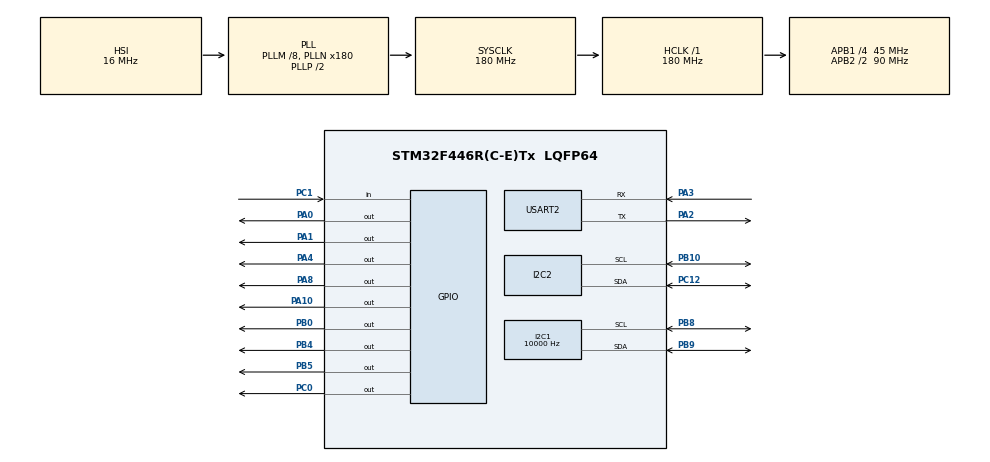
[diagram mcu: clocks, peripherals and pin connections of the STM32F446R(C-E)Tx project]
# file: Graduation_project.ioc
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I2C1.ClockSpeed=10000
Mcu.Family=STM32F4
Mcu.Name=STM32F446R(C-E)Tx
Mcu.Package=LQFP64
NVIC.PriorityGroup=NVIC_PRIORITYGROUP_4
NVIC.USART2_IRQn=true\:0\:0\:false\:false\:true\:true\:true\:true
PA0-WKUP.Signal=GPIO_Output
PA1.Signal=GPIO_Output
PA10.Signal=GPIO_Output
PA13.Mode=Trace_Asynchronous_SW
PA13.Signal=SYS_JTMS-SWDIO
PA14.Mode=Trace_Asynchronous_SW
PA14.Signal=SYS_JTCK-SWCLK
PA2.Mode=Asynchronous
PA2.Signal=USART2_TX
PA3.Mode=Asynchronous
PA3.Signal=USART2_RX
PA4.Signal=GPIO_Output
PA8.Signal=GPIO_Output
PB0.Signal=GPIO_Output
PB10.Mode=I2C
PB10.Signal=I2C2_SCL
PB3.Mode=Trace_Asynchronous_SW
PB3.Signal=SYS_JTDO-SWO
PB4.Signal=GPIO_Output
PB5.Signal=GPIO_Output
PB8.GPIO_Pu=GPIO_NOPULL
PB8.Mode=I2C
PB8.Signal=I2C1_SCL
PB9.GPIO_Pu=GPIO_NOPULL
PB9.Mode=I2C
PB9.Signal=I2C1_SDA
PC0.Signal=GPIO_Output
PC1.GPIO_PuPd=GPIO_PULLUP
PC1.Signal=GPIO_Input
PC12.Mode=I2C
PC12.Signal=I2C2_SDA
ProjectManager.HeapSize=0x200
ProjectManager.StackSize=0x400
ProjectManager.TargetToolchain=STM32CubeIDE
RCC.AHBFreq_Value=180000000
RCC.APB1CLKDivider=RCC_HCLK_DIV4
RCC.APB1Freq_Value=45000000
RCC.APB1TimFreq_Value=90000000
RCC.APB2CLKDivider=RCC_HCLK_DIV2
RCC.APB2Freq_Value=90000000
RCC.APB2TimFreq_Value=180000000
RCC.CortexFreq_Value=180000000
RCC.HCLKFreq_Value=180000000
RCC.PLLM=8
RCC.PLLN=180
RCC.SYSCLKFreq_VALUE=180000000
RCC.SYSCLKSource=RCC_SYSCLKSOURCE_PLLCLK
RCC.USBFreq_Value=180000000
RCC.VCOOutputFreq_Value=360000000
USART2.VirtualMode=VM_ASYNC
board=custom

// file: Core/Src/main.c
/* USER CODE BEGIN Header */
/**
  ******************************************************************************
  * @file           : main.c
  * @brief          : Main program body
  ******************************************************************************
  * @attention
  *
  * Copyright (c) 2025 STMicroelectronics.
  * All rights reserved.
  *
  * This software is licensed under terms that can be found in the LICENSE file
  * in the root directory of this software component.
  * If no LICENSE file comes with this software, it is provided AS-IS.
  *
  ******************************************************************************
  */
/* USER CODE END Header */
#include "main.h"

/* USER CODE BEGIN Includes */
#include "../../HAL/TOF/tof_pp.h"
#include "../../HAL/Geroscope/MPU6050_cfg.h"
#include "../../HAL/Movement_System/move_system_cfg.h"
#include <stdarg.h>
#include <stdio.h>
#include <math.h>
/* USER CODE END Includes */

/* USER CODE BEGIN PTD */
#define DISTANCE_FORCE_STOP 400
#define NUM_SENSORS 4

/* USER CODE END PTD */

/* USER CODE BEGIN PD */
extern I2C_HandleTypeDef hi2c1;
extern I2C_HandleTypeDef hi2c2;

/* USER CODE END PD */

I2C_HandleTypeDef hi2c1;
I2C_HandleTypeDef hi2c2;

UART_HandleTypeDef huart2;

void SystemClock_Config(void);
static void MX_GPIO_Init(void);
static void MX_USART2_UART_Init(void);
static void MX_I2C2_Init(void);
static void MX_I2C1_Init(void);

/* USER CODE BEGIN 0 */
VL53L1X sensors[NUM_SENSORS];
VL53L1X* sensor_ptrs[NUM_SENSORS];
uint16_t distances[NUM_SENSORS];
uint8_t Command;
uint16_t distance_forward_right = 0;
uint16_t distance_forward_left = 0;
uint16_t distance_backward_right = 0;
uint16_t distance_backward_left = 0;
uint8_t Emergency_stop_btn = 0;
int16_t x = 0;
int16_t y = 0;
int16_t z = 0;
float roll = 0;
float pitch = 0;

/* USER CODE END 0 */

int main(void)
{

  /* MCU Configuration--------------------------------------------------------*/

  /* Reset of all peripherals, Initializes the Flash interface and the Systick. */
  HAL_Init();

  /* Configure the system clock */
  SystemClock_Config();

  /* Initialize all configured peripherals */
  MX_GPIO_Init();
  MX_USART2_UART_Init();
  MX_I2C2_Init();
  MX_I2C1_Init();
  /* USER CODE BEGIN 2 */
  HAL_UART_Receive_IT(&huart2, (uint8_t *)&Command, 1);
  SetupToFSensors();
  MPU6050_Init(&MPU_1);
  /* USER CODE END 2 */

  /* Infinite loop */
  /* USER CODE BEGIN WHILE */
  while (1)
  {
	  Emergency_stop_btn = GPIO_PIN_SET;
	  if(Emergency_stop_btn == GPIO_PIN_SET)
	  {
		  ReadToFSensors();
		  MPU6050_Read_Accel(&MPU_1,&x,&y,&z);
		  distance_forward_right = distances[1];
		  distance_forward_left= distances[3];
		  distance_backward_right= distances[0];
		  distance_backward_left= distances[2];
		  roll = Get_Roll(y, z);
		  ITM_printf("Roll = %.2f\n",roll);
		  ITM_printf("sen1 = %i\nsen2 = %i\nsen3 = %i\nsen4 = %i\n",distance_forward_left,distance_forward_right,distance_backward_left,distance_backward_right);

		  if((distance_forward_right  > DISTANCE_FORCE_STOP)&&(distance_forward_left  > DISTANCE_FORCE_STOP))
		  {

			if((roll > 35.0f) && (roll < 60.0f))
			{
				Chair_Stop(&Chair);
				Chair_Move_Right(&Chair);
				HAL_Delay(500);
				Chair_Stop(&Chair);
				ITM_printf("Right\n");
				HAL_Delay(2000);
		    }
		  	else if((roll < 0.0f) && (roll > -80.0f))
		  	{
	 		  	Chair_Stop(&Chair);
		 	  	Chair_Move_Left(&Chair);
		  	 	HAL_Delay(500);
		  	 	Chair_Stop(&Chair);
		 	  	ITM_printf("Left\n");
			  	HAL_Delay(2000);
		    }
		  	else
		  	{
		  		ITM_printf("Neutral (Roll: %.2f)\n", roll);
		  	}
			ITM_printf("Command : %c",Command);
		  	if(Command == 'F')
		  	{
		  		Chair_Move_Forward(&Chair);
		    }
		  	else if((Command == 'B') && (distance_backward_right  > DISTANCE_FORCE_STOP)&&(distance_backward_left  > DISTANCE_FORCE_STOP))
		  	{
		  		Chair_Move_Backward(&Chair);
		  	}
		  	else if(Command == 'S')
		    {
		  		Chair_Stop(&Chair);
		    }
		  	else if(Command == 'R')
		  	{
		  		Chair_Move_Right(&Chair);
		    }
		  	else if(Command == 'L')
		  	{
		  		Chair_Move_Left(&Chair);
		  	}
		    else
		    {
		    	Chair_Stop(&Chair);
		    }
		  }
		  else if((distance_backward_right  > DISTANCE_FORCE_STOP)&&(distance_backward_left  > DISTANCE_FORCE_STOP))
		  {
			  if(Command == 'S')
			  {
				  Chair_Stop(&Chair);
			  }
			  else if(Command == 'B')
			  {
				  Chair_Move_Backward(&Chair);
			  }
		  }
		  else
		  {
			  Chair_Stop(&Chair);
		  }
	  }

    /* USER CODE END WHILE */

  }
}

void SystemClock_Config(void)
{
  RCC_OscInitTypeDef RCC_OscInitStruct = {0};
  RCC_ClkInitTypeDef RCC_ClkInitStruct = {0};

  /** Configure the main internal regulator output voltage
  */
  __HAL_RCC_PWR_CLK_ENABLE();
  __HAL_PWR_VOLTAGESCALING_CONFIG(PWR_REGULATOR_VOLTAGE_SCALE1);

  /** Initializes the RCC Oscillators according to the specified parameters
  * in the RCC_OscInitTypeDef structure.
  */
  RCC_OscInitStruct.OscillatorType = RCC_OSCILLATORTYPE_HSI;
  RCC_OscInitStruct.HSIState = RCC_HSI_ON;
  RCC_OscInitStruct.HSICalibrationValue = RCC_HSICALIBRATION_DEFAULT;
  RCC_OscInitStruct.PLL.PLLState = RCC_PLL_ON;
  RCC_OscInitStruct.PLL.PLLSource = RCC_PLLSOURCE_HSI;
  RCC_OscInitStruct.PLL.PLLM = 8;
  RCC_OscInitStruct.PLL.PLLN = 180;
  RCC_OscInitStruct.PLL.PLLP = RCC_PLLP_DIV2;
  RCC_OscInitStruct.PLL.PLLQ = 2;
  RCC_OscInitStruct.PLL.PLLR = 2;
  if (HAL_RCC_OscConfig(&RCC_OscInitStruct) != HAL_OK)
  {
    Error_Handler();
  }

  /** Activate the Over-Drive mode
  */
  if (HAL_PWREx_EnableOverDrive() != HAL_OK)
  {
    Error_Handler();
  }

  /** Initializes the CPU, AHB and APB buses clocks
  */
  RCC_ClkInitStruct.ClockType = RCC_CLOCKTYPE_HCLK|RCC_CLOCKTYPE_SYSCLK
                              |RCC_CLOCKTYPE_PCLK1|RCC_CLOCKTYPE_PCLK2;
  RCC_ClkInitStruct.SYSCLKSource = RCC_SYSCLKSOURCE_PLLCLK;
  RCC_ClkInitStruct.AHBCLKDivider = RCC_SYSCLK_DIV1;
  RCC_ClkInitStruct.APB1CLKDivider = RCC_HCLK_DIV4;
  RCC_ClkInitStruct.APB2CLKDivider = RCC_HCLK_DIV2;

  if (HAL_RCC_ClockConfig(&RCC_ClkInitStruct, FLASH_LATENCY_5) != HAL_OK)
  {
    Error_Handler();
  }
}

static void MX_I2C1_Init(void)
{

  hi2c1.Instance = I2C1;
  hi2c1.Init.ClockSpeed = 10000;
  hi2c1.Init.DutyCycle = I2C_DUTYCYCLE_2;
  hi2c1.Init.OwnAddress1 = 0;
  hi2c1.Init.AddressingMode = I2C_ADDRESSINGMODE_7BIT;
  hi2c1.Init.DualAddressMode = I2C_DUALADDRESS_DISABLE;
  hi2c1.Init.OwnAddress2 = 0;
  hi2c1.Init.GeneralCallMode = I2C_GENERALCALL_DISABLE;
  hi2c1.Init.NoStretchMode = I2C_NOSTRETCH_DISABLE;
  if (HAL_I2C_Init(&hi2c1) != HAL_OK)
  {
    Error_Handler();
  }

}

static void MX_I2C2_Init(void)
{

  hi2c2.Instance = I2C2;
  hi2c2.Init.ClockSpeed = 100000;
  hi2c2.Init.DutyCycle = I2C_DUTYCYCLE_2;
  hi2c2.Init.OwnAddress1 = 0;
  hi2c2.Init.AddressingMode = I2C_ADDRESSINGMODE_7BIT;
  hi2c2.Init.DualAddressMode = I2C_DUALADDRESS_DISABLE;
  hi2c2.Init.OwnAddress2 = 0;
  hi2c2.Init.GeneralCallMode = I2C_GENERALCALL_DISABLE;
  hi2c2.Init.NoStretchMode = I2C_NOSTRETCH_DISABLE;
  if (HAL_I2C_Init(&hi2c2) != HAL_OK)
  {
    Error_Handler();
  }

}

static void MX_USART2_UART_Init(void)
{

  huart2.Instance = USART2;
  huart2.Init.BaudRate = 115200;
  huart2.Init.WordLength = UART_WORDLENGTH_8B;
  huart2.Init.StopBits = UART_STOPBITS_1;
  huart2.Init.Parity = UART_PARITY_NONE;
  huart2.Init.Mode = UART_MODE_TX_RX;
  huart2.Init.HwFlowCtl = UART_HWCONTROL_NONE;
  huart2.Init.OverSampling = UART_OVERSAMPLING_16;
  if (HAL_UART_Init(&huart2) != HAL_OK)
  {
    Error_Handler();
  }

}

static void MX_GPIO_Init(void)
{
  GPIO_InitTypeDef GPIO_InitStruct = {0};

  /* GPIO Ports Clock Enable */
  __HAL_RCC_GPIOC_CLK_ENABLE();
  __HAL_RCC_GPIOA_CLK_ENABLE();
  __HAL_RCC_GPIOB_CLK_ENABLE();

  /*Configure GPIO pin Output Level */
  HAL_GPIO_WritePin(GPIOC, GPIO_PIN_0, GPIO_PIN_RESET);

  /*Configure GPIO pin Output Level */
  HAL_GPIO_WritePin(GPIOA, GPIO_PIN_0|GPIO_PIN_1|GPIO_PIN_4|GPIO_PIN_8
                          |GPIO_PIN_10, GPIO_PIN_RESET);

  /*Configure GPIO pin Output Level */
  HAL_GPIO_WritePin(GPIOB, GPIO_PIN_0|GPIO_PIN_4|GPIO_PIN_5, GPIO_PIN_RESET);

  /*Configure GPIO pin : PC0 */
  GPIO_InitStruct.Pin = GPIO_PIN_0;
  GPIO_InitStruct.Mode = GPIO_MODE_OUTPUT_PP;
  GPIO_InitStruct.Pull = GPIO_NOPULL;
  GPIO_InitStruct.Speed = GPIO_SPEED_FREQ_LOW;
  HAL_GPIO_Init(GPIOC, &GPIO_InitStruct);

  /*Configure GPIO pin : PC1 */
  GPIO_InitStruct.Pin = GPIO_PIN_1;
  GPIO_InitStruct.Mode = GPIO_MODE_INPUT;
  GPIO_InitStruct.Pull = GPIO_PULLUP;
  HAL_GPIO_Init(GPIOC, &GPIO_InitStruct);

  /*Configure GPIO pins : PA0 PA1 PA4 PA8
                           PA10 */
  GPIO_InitStruct.Pin = GPIO_PIN_0|GPIO_PIN_1|GPIO_PIN_4|GPIO_PIN_8
                          |GPIO_PIN_10;
  GPIO_InitStruct.Mode = GPIO_MODE_OUTPUT_PP;
  GPIO_InitStruct.Pull = GPIO_NOPULL;
  GPIO_InitStruct.Speed = GPIO_SPEED_FREQ_LOW;
  HAL_GPIO_Init(GPIOA, &GPIO_InitStruct);

  /*Configure GPIO pins : PB0 PB4 PB5 */
  GPIO_InitStruct.Pin = GPIO_PIN_0|GPIO_PIN_4|GPIO_PIN_5;
  GPIO_InitStruct.Mode = GPIO_MODE_OUTPUT_PP;
  GPIO_InitStruct.Pull = GPIO_NOPULL;
  GPIO_InitStruct.Speed = GPIO_SPEED_FREQ_LOW;
  HAL_GPIO_Init(GPIOB, &GPIO_InitStruct);

}

/* USER CODE BEGIN 4 */
void ITM_SendString(const char *str) {
    while (*str) {
        ITM_SendChar(*str); // Send one character at a time
        str++;              // Move to the next character
    }
}
void ITM_printf(const char *format, ...) {
    char buffer[128]; // Adjust size as needed
    va_list args;
    va_start(args, format);
    vsnprintf(buffer, sizeof(buffer), format, args);
    va_end(args);
    ITM_SendString(buffer);
}
void HAL_UART_RxCpltCallback(UART_HandleTypeDef *huart)
{
	if(huart->Instance == USART2)
	{
		ITM_SendString(Command);
		HAL_UART_Receive_IT(&huart2, (uint8_t *)&Command, 1);
	}
}
void SetupToFSensors() {
    // Define unique I2C addresses for each sensor (must be different)
    uint8_t addresses[NUM_SENSORS] = {0x30, 0x32, 0x34, 0x36};

    // Define XSHUT pins (Assuming they are connected to different GPIO pins)
    GPIO_TypeDef* xshut_ports[NUM_SENSORS] = {GPIOA, GPIOA, GPIOB, GPIOA};
    uint16_t xshut_pins[NUM_SENSORS] = {GPIO_PIN_0, GPIO_PIN_1, GPIO_PIN_0, GPIO_PIN_4};

    // Initialize each sensor
    for (uint8_t i = 0; i < NUM_SENSORS; i++) {
        TOF_InitStruct(&sensors[i], &hi2c1, addresses[i], xshut_ports[i], xshut_pins[i]);
        sensor_ptrs[i] = &sensors[i];
    }

    // Boot all sensors
    TOF_BootMultipleSensors(sensor_ptrs, NUM_SENSORS);
}

void ReadToFSensors() {
    for (uint8_t i = 0; i < NUM_SENSORS; i++) {
        distances[i] = TOF_GetDistance(&sensors[i]);
    }
}
/* USER CODE END 4 */

void Error_Handler(void)
{
  __disable_irq();
  while (1)
  {
  }
}
